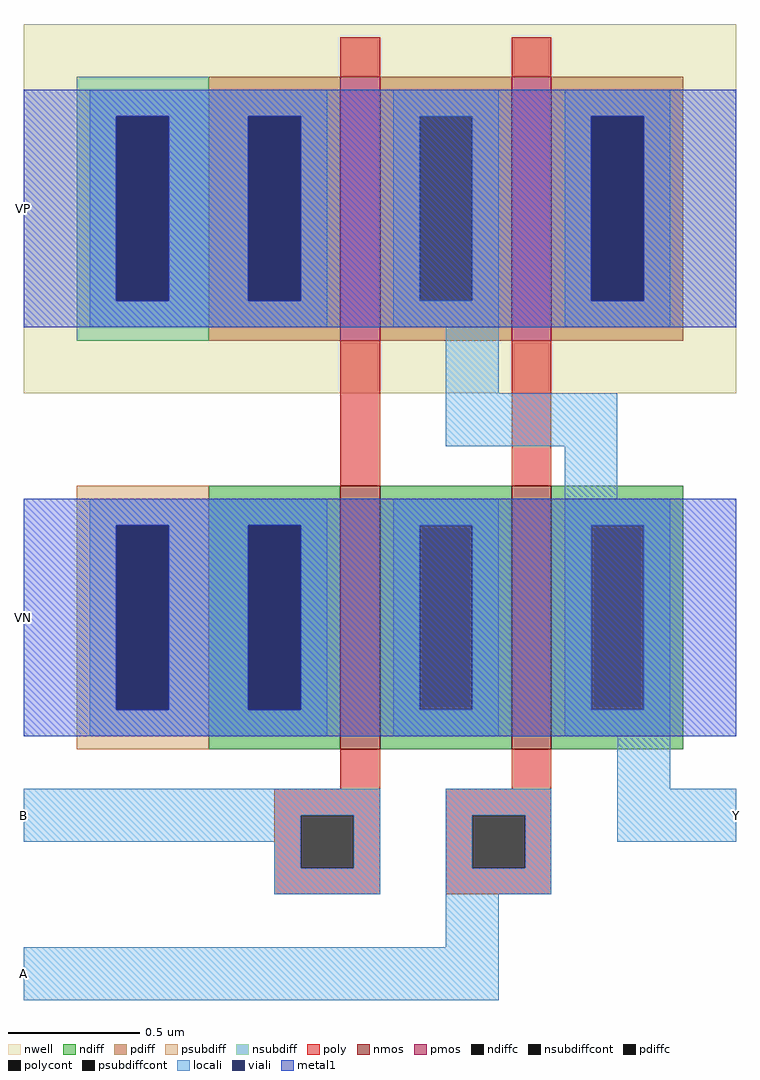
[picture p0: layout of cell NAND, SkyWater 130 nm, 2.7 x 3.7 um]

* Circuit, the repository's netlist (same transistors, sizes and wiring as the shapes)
* NGSPICE file created from NAND.ext - technology: sky130A

.subckt NAND A B Y VP VN
X0 a_30_n10# B VN VN sky130_fd_pr__nfet_01v8 ad=0.25 pd=1.5 as=0.5 ps=3 w=1 l=0.15
X1 Y B VP VP sky130_fd_pr__pfet_01v8 ad=0.25 pd=1.5 as=0.5 ps=3 w=1 l=0.15
X2 VP A Y VP sky130_fd_pr__pfet_01v8 ad=0.5 pd=3 as=0.25 ps=1.5 w=1 l=0.15
X3 Y A a_30_n10# VN sky130_fd_pr__nfet_01v8 ad=0.5 pd=3 as=0.25 ps=1.5 w=1 l=0.15
.ends

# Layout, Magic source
magic
tech sky130A
<< nwell >>
rect -120 130 150 270
<< nmos >>
rect 0 -5 15 95
rect 65 -5 80 95
<< pmos >>
rect 0 150 15 250
rect 65 150 80 250
<< ndiff >>
rect -50 80 0 95
rect -50 10 -35 80
rect -15 10 0 80
rect -50 -5 0 10
rect 15 80 65 95
rect 15 10 30 80
rect 50 10 65 80
rect 15 -5 65 10
rect 80 80 130 95
rect 80 10 95 80
rect 115 10 130 80
rect 80 -5 130 10
<< pdiff >>
rect -50 235 0 250
rect -50 165 -35 235
rect -15 165 0 235
rect -50 150 0 165
rect 15 235 65 250
rect 15 165 30 235
rect 50 165 65 235
rect 15 150 65 165
rect 80 235 130 250
rect 80 165 95 235
rect 115 165 130 235
rect 80 150 130 165
<< ndiffc >>
rect -35 10 -15 80
rect 30 10 50 80
rect 95 10 115 80
<< pdiffc >>
rect -35 165 -15 235
rect 30 165 50 235
rect 95 165 115 235
<< psubdiff >>
rect -100 80 -50 95
rect -100 10 -85 80
rect -65 10 -50 80
rect -100 -5 -50 10
<< nsubdiff >>
rect -100 235 -50 250
rect -100 165 -85 235
rect -65 165 -50 235
rect -100 150 -50 165
<< psubdiffcont >>
rect -85 10 -65 80
<< nsubdiffcont >>
rect -85 165 -65 235
<< poly >>
rect 0 250 15 265
rect 65 250 80 265
rect 0 95 15 150
rect 65 95 80 150
rect 0 -20 15 -5
rect 65 -20 80 -5
rect -25 -30 15 -20
rect -25 -50 -15 -30
rect 5 -50 15 -30
rect -25 -60 15 -50
rect 40 -30 80 -20
rect 40 -50 50 -30
rect 70 -50 80 -30
rect 40 -60 80 -50
<< polycont >>
rect -15 -50 5 -30
rect 50 -50 70 -30
<< locali >>
rect -95 235 -5 245
rect -95 165 -85 235
rect -65 165 -35 235
rect -15 165 -5 235
rect -95 155 -5 165
rect 20 235 60 245
rect 20 165 30 235
rect 50 165 60 235
rect 20 155 60 165
rect 85 235 125 245
rect 85 165 95 235
rect 115 165 125 235
rect 85 155 125 165
rect 40 130 60 155
rect 40 110 105 130
rect 85 90 105 110
rect -95 80 -5 90
rect -95 10 -85 80
rect -65 10 -35 80
rect -15 10 -5 80
rect -95 0 -5 10
rect 20 80 60 90
rect 20 10 30 80
rect 50 10 60 80
rect 20 0 60 10
rect 85 80 125 90
rect 85 10 95 80
rect 115 10 125 80
rect 85 0 125 10
rect 105 -20 125 0
rect -120 -30 15 -20
rect -120 -40 -15 -30
rect -25 -50 -15 -40
rect 5 -50 15 -30
rect -25 -60 15 -50
rect 40 -30 80 -20
rect 40 -50 50 -30
rect 70 -50 80 -30
rect 105 -40 150 -20
rect 40 -60 80 -50
rect 40 -80 60 -60
rect -120 -100 60 -80
<< viali >>
rect -85 165 -65 235
rect -35 165 -15 235
rect 95 165 115 235
rect -85 10 -65 80
rect -35 10 -15 80
<< metal1 >>
rect -120 235 150 245
rect -120 165 -85 235
rect -65 165 -35 235
rect -15 165 95 235
rect 115 165 150 235
rect -120 155 150 165
rect -120 80 150 90
rect -120 10 -85 80
rect -65 10 -35 80
rect -15 10 150 80
rect -120 0 150 10
<< labels >>
rlabel locali 150 -30 150 -30 3 Y
port 3 e
rlabel metal1 -120 45 -120 45 7 VN
port 5 w
rlabel metal1 -120 200 -120 200 7 VP
port 4 w
rlabel locali -120 -90 -120 -90 7 A
port 1 w
rlabel locali -120 -30 -120 -30 7 B
port 2 w
<< end >>
